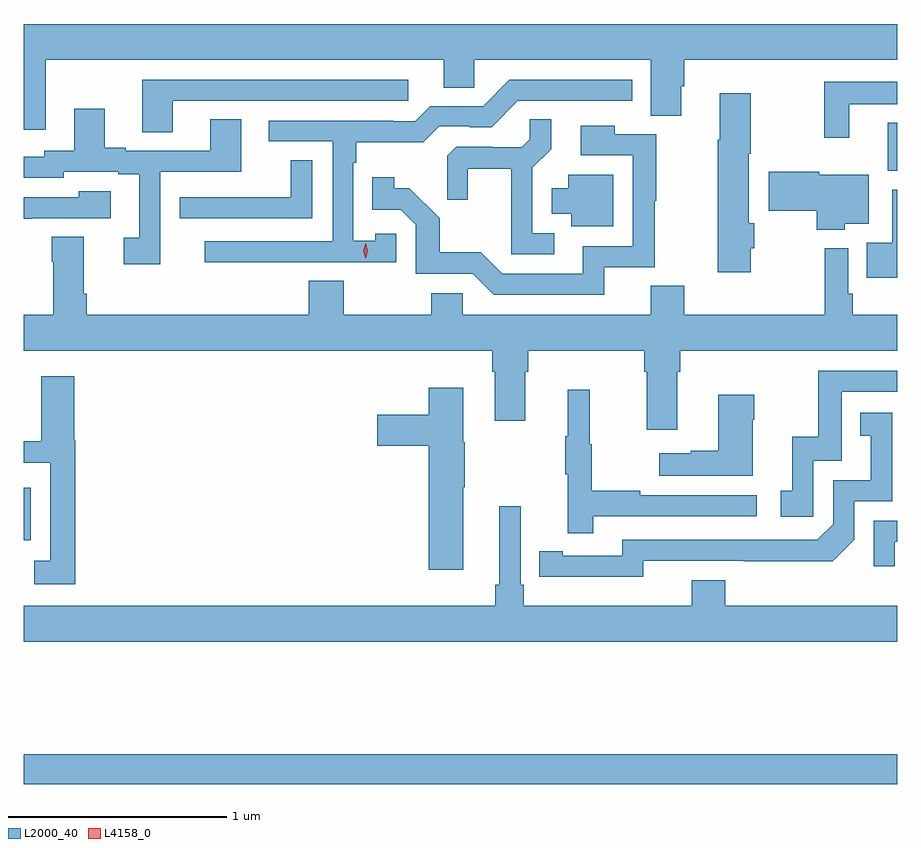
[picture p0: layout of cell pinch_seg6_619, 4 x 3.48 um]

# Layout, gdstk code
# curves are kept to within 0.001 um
import gdstk
lib = gdstk.Library(unit=1e-6, precision=1e-09)
def R(c, l, rs):  # rectangles x0, y0, x1, y1
    for r in rs: c.add(gdstk.rectangle(r[:2], r[2:], *l))
def P(c, l, *ps):  # polygons
    for p in ps: c.add(gdstk.Polygon(p, *l))
L2000_40 = (2000, 40)
L4158_0 = (4158, 0)

pinch_seg6_619 = lib.new_cell('pinch_seg6_619')
R(pinch_seg6_619, L2000_40, [(433.448,966.664,437.448,966.8), (433.448,967.781,433.48,968.02), (437.405,969.471,437.448,969.691)])
P(pinch_seg6_619, L2000_40, [(433.448,969.66),(433.549,969.66),(433.549,969.98),(435.371,969.98),(435.371,969.853),(435.51,969.853),(435.51,969.98),(436.319,969.98),(436.319,969.724),(436.459,969.724),(436.459,969.858),(436.472,969.858),(436.472,969.98),(437.448,969.98),(437.448,970.144),(433.448,970.144)],
  [(434.669,969.054),(435.153,969.054),(435.153,969.183),(435.057,969.183),(435.057,969.151),(434.958,969.151),(434.958,969.509),(434.971,969.509),(434.971,969.602),(435.278,969.602),(435.351,969.675),(435.49,969.675),(435.49,969.672),(435.591,969.672),(435.711,969.792),(436.234,969.792),(436.234,969.888),(435.672,969.888),(435.552,969.768),(435.309,969.768),(435.24,969.699),(435.14,969.699),(435.14,969.702),(434.571,969.702),(434.571,969.606),(434.862,969.606),(434.862,969.15),(434.277,969.15),(434.277,969.052),(434.669,969.052)],
  [(434.131,969.792),(435.208,969.792),(435.208,969.888),(433.991,969.888),(433.991,969.649),(434.131,969.649)],
  [(437.227,969.776),(437.448,969.776),(437.448,969.88),(437.113,969.88),(437.113,969.624),(437.227,969.624)],
  [(436.776,969.117),(436.794,969.117),(436.794,969.231),(436.768,969.231),(436.768,969.55),(436.776,969.55),(436.776,969.826),(436.634,969.826),(436.634,969.613),(436.627,969.613),(436.627,969.008),(436.776,969.008)],
  [(434.073,969.468),(434.443,969.468),(434.443,969.707),(434.303,969.707),(434.303,969.564),(433.915,969.564),(433.915,969.577),(433.819,969.577),(433.819,969.757),(433.679,969.757),(433.679,969.564),(433.542,969.564),(433.542,969.537),(433.448,969.537),(433.448,969.441),(433.632,969.441),(433.632,969.468),(433.88,969.468),(433.88,969.456),(433.976,969.456),(433.976,969.165),(433.905,969.165),(433.905,969.045),(434.073,969.045)],
  [(435.877,969.186),(435.777,969.186),(435.777,969.485),(435.863,969.571),(435.863,969.707),(435.765,969.707),(435.765,969.616),(435.728,969.579),(435.594,969.579),(435.594,969.582),(435.429,969.582),(435.388,969.541),(435.388,969.339),(435.482,969.339),(435.482,969.482),(435.68,969.482),(435.68,969.09),(435.877,969.09)],
  [(436.106,969.03),(436.337,969.03),(436.337,969.335),(436.345,969.335),(436.345,969.639),(436.155,969.639),(436.155,969.679),(435.999,969.679),(435.999,969.543),(436.236,969.543),(436.236,969.126),(436.007,969.126),(436.007,969),(435.639,969),(435.541,969.099),(435.352,969.099),(435.352,969.254),(435.214,969.392),(435.144,969.392),(435.144,969.442),(435.043,969.442),(435.043,969.294),(435.174,969.294),(435.243,969.225),(435.243,969),(435.504,969),(435.6,968.904),(436.106,968.904)],
  [(434.769,969.521),(434.671,969.521),(434.671,969.351),(434.275,969.351),(434.275,969.35),(434.163,969.35),(434.163,969.255),(434.769,969.255)],
  [(437.208,969.23),(437.317,969.23),(437.317,969.454),(437.091,969.454),(437.091,969.467),(436.86,969.467),(436.86,969.289),(437.08,969.289),(437.08,969.203),(437.208,969.203)],
  [(436.147,969.454),(435.941,969.454),(435.941,969.391),(435.866,969.391),(435.866,969.275),(435.956,969.275),(435.956,969.218),(436.147,969.218)],
  [(437.448,969.386),(437.426,969.386),(437.426,969.142),(437.308,969.142),(437.308,968.981),(437.448,968.981)],
  [(433.487,969.255),(433.846,969.255),(433.846,969.379),(433.701,969.379),(433.701,969.351),(433.448,969.351),(433.448,969.253),(433.487,969.253)],
  [(436.441,968.552),(436.454,968.552),(436.454,968.648),(437.448,968.648),(437.448,968.812),(437.243,968.812),(437.243,968.908),(437.223,968.908),(437.223,969.118),(437.115,969.118),(437.115,968.812),(436.472,968.812),(436.472,968.945),(436.319,968.945),(436.319,968.812),(435.459,968.812),(435.459,968.91),(435.313,968.91),(435.313,968.812),(434.913,968.812),(434.913,968.969),(434.753,968.969),(434.753,968.812),(433.736,968.812),(433.736,968.908),(433.723,968.908),(433.723,969.169),(433.576,969.169),(433.576,969.056),(433.583,969.056),(433.583,968.812),(433.448,968.812),(433.448,968.648),(435.593,968.648),(435.593,968.552),(435.605,968.552),(435.605,968.328),(435.745,968.328),(435.745,968.552),(435.758,968.552),(435.758,968.648),(436.289,968.648),(436.289,968.552),(436.301,968.552),(436.301,968.286),(436.441,968.286)],
  [(437.064,968.145),(437.193,968.145),(437.193,968.46),(437.448,968.46),(437.448,968.556),(437.085,968.556),(437.085,968.254),(436.967,968.254),(436.967,968.007),(436.914,968.007),(436.914,967.887),(437.064,967.887)],
  [(433.685,968.239),(433.679,968.239),(433.679,968.53),(433.529,968.53),(433.529,968.233),(433.448,968.233),(433.448,968.136),(433.569,968.136),(433.569,967.687),(433.497,967.687),(433.497,967.578),(433.685,967.578)],
  [(435.46,968.023),(435.468,968.023),(435.468,968.229),(435.46,968.229),(435.46,968.479),(435.302,968.479),(435.302,968.355),(435.066,968.355),(435.066,968.213),(435.302,968.213),(435.302,967.644),(435.46,967.644)],
  [(436.055,967.89),(436.804,967.89),(436.804,967.986),(436.271,967.986),(436.271,968.006),(436.048,968.006),(436.048,968.22),(436.04,968.22),(436.04,968.47),(435.938,968.47),(435.938,968.257),(435.927,968.257),(435.927,968.083),(435.938,968.083),(435.938,967.812),(436.055,967.812)],
  [(436.786,968.333),(436.794,968.333),(436.794,968.446),(436.628,968.446),(436.628,968.189),(436.502,968.189),(436.502,968.179),(436.359,968.179),(436.359,968.075),(436.786,968.075)],
  [(436.284,967.686),(437.152,967.685),(437.25,967.782),(437.25,967.959),(437.424,967.959),(437.424,968.365),(437.278,968.365),(437.278,968.259),(437.327,968.259),(437.327,968.055),(437.154,968.055),(437.154,967.854),(437.082,967.782),(436.188,967.782),(436.188,967.71),(435.916,967.71),(435.916,967.73),(435.808,967.73),(435.808,967.614),(436.284,967.613)],
  [(437.448,967.48),(436.661,967.48),(436.661,967.597),(436.508,967.597),(436.508,967.48),(435.737,967.48),(435.737,967.576),(435.723,967.576),(435.723,967.936),(435.626,967.936),(435.626,967.576),(435.607,967.576),(435.607,967.48),(433.448,967.48),(433.448,967.316),(437.448,967.316)],
  [(437.437,967.773),(437.448,967.773),(437.448,967.869),(437.34,967.869),(437.34,967.662),(437.437,967.662)])
P(pinch_seg6_619, L4158_0, [(435.013,969.069),(435.013,969.069),(435.003,969.105),(435.013,969.141),(435.013,969.141),(435.013,969.141),(435.023,969.105),(435.013,969.069)])

lib.write_gds('pinch_seg6_619.gds')
